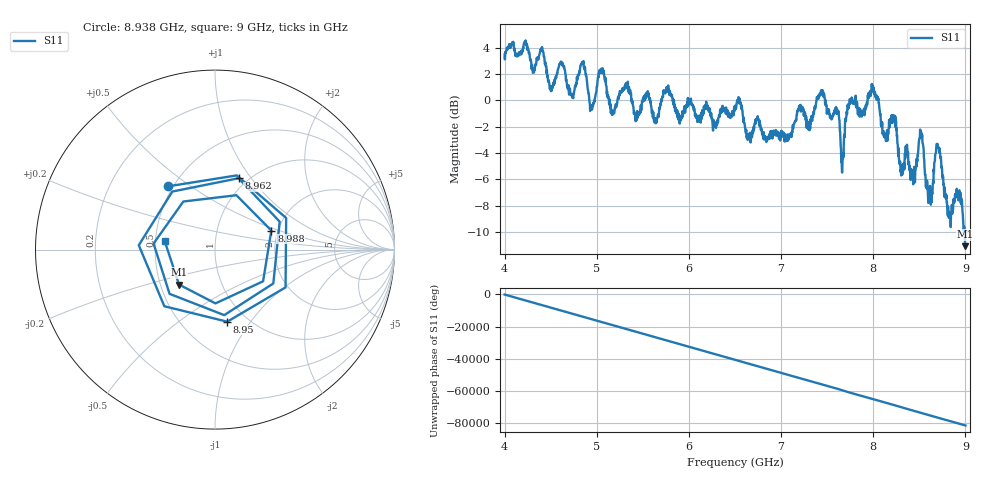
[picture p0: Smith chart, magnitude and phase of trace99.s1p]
! Created with skrf 1.8.0 (http://scikit-rf.org).
# Hz S RI R 50.0
!freq ReS11 ImS11
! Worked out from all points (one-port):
!   1601 points, 4 GHz to 9 GHz, reference 50 ohm
!   lowest |S11| = -11.1 dB at 8.997 GHz (marker M1), VSWR 1.78, Z = 31.2 - j13.2 ohm
!   |S11| at or under -10 dB: 8.991647 GHz to end of sweep
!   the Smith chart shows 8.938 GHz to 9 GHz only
!   S11 on the Smith chart (normalised r, x): 8.938 GHz: 0.47, +0.41; 8.95 GHz: 0.81, -0.78; 8.962 GHz: 0.90, +0.87; 8.988 GHz: 1.85, +0.44; 9 GHz: 0.56, +0.06
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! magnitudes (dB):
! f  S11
! 4 GHz  3.5
! 4.512 GHz  0.8
! 4.625 GHz  2.7
! 4.725 GHz  0.4
! 4.85 GHz  2.8
! 4.944 GHz  -0.5
! 5.047 GHz  2.2
! 5.169 GHz  -0.9
! 5.25 GHz  0.7
! 5.875 GHz  -1.1
! 6.5 GHz  -0.4
! 7.125 GHz  -2.1
! 7.447 GHz  0.7
! 7.666 GHz  -4.9
! 7.75 GHz  -0.3
! 8.003 GHz  0.8
! 8.375 GHz  -4.0
! 8.441 GHz  -5.9
! 8.522 GHz  -2.8
! 8.619 GHz  -7.1
! 8.703 GHz  -3.5
! 8.822 GHz  -8.9
! 8.938 GHz  -7.1
! 8.95 GHz  -7.8
! 8.962 GHz  -7.6
! 8.988 GHz  -9.6
! 8.997 GHz  -11.1
! 9 GHz  -10.9
